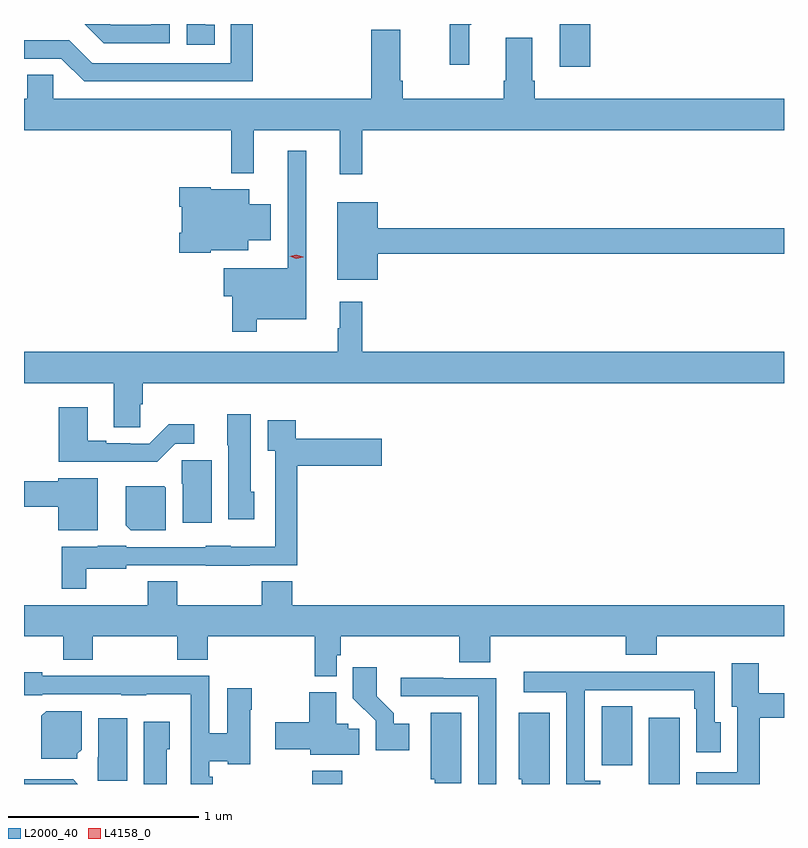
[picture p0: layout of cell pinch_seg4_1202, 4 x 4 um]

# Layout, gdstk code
import gdstk
lib = gdstk.Library(unit=1e-6, precision=1e-09)
def R(c, l, rs):  # rectangles x0, y0, x1, y1
    for r in rs: c.add(gdstk.rectangle(r[:2], r[2:], *l))
def P(c, l, *ps):  # polygons
    for p in ps: c.add(gdstk.Polygon(p, *l))
L2000_40 = (2000, 40)
L4158_0 = (4158, 0)

pinch_seg4_1202 = lib.new_cell('pinch_seg4_1202')
R(pinch_seg4_1202, L2000_40, [(318.323,808.03,318.483,808.099), (320.096,808.03,320.257,808.378), (319.847,808.128,320.008,808.439), (319.628,811.806,319.787,812.03), (318.302,812.028,318.473,812.03)])
P(pinch_seg4_1202, L2000_40, [(318.011,812.03),(317.895,812.03),(317.895,811.824),(317.166,811.824),(317.046,811.944),(316.807,811.944),(316.807,811.848),(317.004,811.848),(317.124,811.728),(318.011,811.728)],
  [(317.574,812.03),(317.478,812.03),(317.478,812.026),(317.264,812.026),(317.26,812.03),(317.127,812.03),(317.228,811.929),(317.574,811.929)],
  [(317.81,812.025),(317.761,812.025),(317.761,812.03),(317.664,812.03),(317.664,811.92),(317.81,811.92)],
  [(319.151,812.027),(319.162,812.027),(319.162,812.03),(319.048,812.03),(319.048,811.815),(319.151,811.815)],
  [(318.587,811.472),(320.807,811.472),(320.807,811.636),(319.496,811.636),(319.496,811.732),(319.483,811.732),(319.483,811.957),(319.343,811.957),(319.343,811.732),(319.331,811.732),(319.331,811.636),(318.8,811.636),(318.8,811.732),(318.787,811.732),(318.787,811.999),(318.635,811.999),(318.635,811.636),(316.962,811.636),(316.962,811.763),(316.823,811.763),(316.823,811.636),(316.807,811.636),(316.807,811.472),(317.899,811.472),(317.899,811.244),(318.017,811.244),(318.017,811.472),(318.47,811.472),(318.47,811.239),(318.587,811.239)],
  [(318.031,810.476),(318.292,810.476),(318.292,811.363),(318.195,811.363),(318.195,810.745),(317.858,810.745),(317.858,810.598),(317.902,810.598),(317.902,810.411),(318.031,810.411)],
  [(317.79,810.839),(317.986,810.839),(317.986,810.893),(318.106,810.893),(318.106,811.081),(317.992,811.081),(317.992,811.159),(317.79,811.159),(317.79,811.171),(317.624,811.171),(317.624,811.067),(317.636,811.067),(317.636,810.931),(317.624,810.931),(317.624,810.827),(317.79,810.827)],
  [(318.67,810.82),(320.807,810.82),(320.807,810.956),(318.67,810.956),(318.67,811.093),(318.455,811.093),(318.455,810.683),(318.67,810.683)],
  [(317.418,810.03),(317.432,810.03),(317.432,810.14),(320.807,810.14),(320.807,810.304),(318.587,810.304),(318.587,810.568),(318.47,810.568),(318.47,810.428),(318.459,810.428),(318.459,810.304),(316.807,810.304),(316.807,810.14),(317.279,810.14),(317.279,809.908),(317.418,809.908)],
  [(317.604,809.82),(317.704,809.82),(317.704,809.923),(317.569,809.923),(317.466,809.82),(317.366,809.82),(317.366,809.823),(317.239,809.823),(317.239,809.836),(317.143,809.836),(317.143,810.013),(316.991,810.013),(316.991,809.726),(317.509,809.726)],
  [(318.019,809.568),(318.001,809.568),(318.001,809.977),(317.876,809.977),(317.876,809.814),(317.882,809.814),(317.882,809.424),(318.019,809.424)],
  [(317.134,809.162),(317.346,809.162),(317.346,809.181),(317.763,809.181),(317.763,809.18),(317.995,809.18),(317.995,809.181),(318.245,809.181),(318.245,809.705),(318.691,809.705),(318.691,809.847),(318.238,809.847),(318.238,809.944),(318.089,809.944),(318.089,809.783),(318.129,809.783),(318.129,809.278),(317.895,809.278),(317.895,809.284),(317.763,809.284),(317.763,809.277),(317.346,809.277),(317.346,809.284),(317.196,809.284),(317.196,809.278),(317.005,809.278),(317.005,809.057),(317.134,809.057)],
  [(317.794,809.733),(317.638,809.733),(317.638,809.61),(317.642,809.61),(317.642,809.406),(317.794,809.406)],
  [(317.194,809.638),(316.988,809.638),(316.988,809.624),(316.807,809.624),(316.807,809.488),(316.988,809.488),(316.988,809.366),(317.194,809.366)],
  [(317.554,809.588),(317.546,809.596),(317.342,809.596),(317.342,809.392),(317.368,809.366),(317.554,809.366)],
  [(318.453,808.707),(318.473,808.707),(318.473,808.808),(319.097,808.808),(319.097,808.672),(319.262,808.672),(319.262,808.808),(319.973,808.808),(319.973,808.709),(320.138,808.709),(320.138,808.808),(320.807,808.808),(320.807,808.972),(318.218,808.972),(318.218,809.096),(318.058,809.096),(318.058,808.972),(317.613,808.972),(317.613,809.096),(317.458,809.096),(317.458,808.972),(316.807,808.972),(316.807,808.808),(317.014,808.808),(317.014,808.684),(317.169,808.684),(317.169,808.808),(317.614,808.808),(317.614,808.684),(317.774,808.684),(317.774,808.808),(318.337,808.808),(318.337,808.598),(318.453,808.598)],
  [(320.68,808.378),(320.807,808.378),(320.807,808.507),(320.675,808.507),(320.675,808.666),(320.531,808.666),(320.531,808.437),(320.561,808.437),(320.561,808.092),(320.346,808.092),(320.346,808.03),(320.68,808.03)],
  [(318.835,808.348),(318.754,808.348),(318.754,808.403),(318.664,808.493),(318.664,808.645),(318.538,808.645),(318.538,808.482),(318.657,808.363),(318.657,808.208),(318.835,808.208)],
  [(319.84,808.047),(319.758,808.047),(319.758,808.524),(320.104,808.524),(320.104,808.523),(320.334,808.523),(320.334,808.427),(320.346,808.427),(320.346,808.197),(320.473,808.197),(320.473,808.356),(320.442,808.356),(320.442,808.622),(320.221,808.622),(320.221,808.62),(319.855,808.62),(319.855,808.622),(319.437,808.622),(319.437,808.514),(319.662,808.514),(319.662,808.03),(319.84,808.03)],
  [(317.801,808.067),(317.781,808.067),(317.781,808.151),(317.88,808.151),(317.88,808.133),(317.998,808.133),(317.998,808.421),(318.006,808.421),(318.006,808.534),(317.876,808.534),(317.876,808.298),(317.781,808.298),(317.781,808.599),(317.551,808.599),(317.551,808.601),(317.319,808.601),(317.319,808.599),(316.902,808.599),(316.902,808.618),(316.807,808.618),(316.807,808.496),(316.902,808.496),(316.902,808.503),(317.319,808.503),(317.319,808.496),(317.451,808.496),(317.451,808.502),(317.685,808.502),(317.685,808.03),(317.801,808.03)],
  [(319.293,808.587),(319.013,808.587),(319.013,808.59),(318.789,808.59),(318.789,808.491),(319.197,808.491),(319.197,808.03),(319.293,808.03)],
  [(318.572,808.322),(318.513,808.322),(318.513,808.347),(318.451,808.347),(318.451,808.513),(318.307,808.513),(318.307,808.356),(318.129,808.356),(318.129,808.214),(318.314,808.214),(318.314,808.184),(318.572,808.184)],
  [(317.088,808.188),(317.11,808.21),(317.11,808.414),(316.924,808.414),(316.898,808.388),(316.898,808.163),(317.088,808.163)],
  [(319.573,808.405),(319.412,808.405),(319.412,808.056),(319.427,808.056),(319.427,808.03),(319.573,808.03)],
  [(319.108,808.405),(318.947,808.405),(318.947,808.056),(318.969,808.056),(318.969,808.035),(319.108,808.035)],
  [(317.35,808.375),(317.198,808.375),(317.198,808.17),(317.194,808.17),(317.194,808.047),(317.35,808.047)],
  [(317.557,808.212),(317.575,808.212),(317.575,808.357),(317.438,808.357),(317.438,808.03),(317.557,808.03)],
  [(317.066,808.054),(316.807,808.054),(316.807,808.03),(317.09,808.03)])
P(pinch_seg4_1202, L4158_0, [(318.24,810.795),(318.206,810.807),(318.205,810.807),(318.206,810.807),(318.241,810.815),(318.276,810.804),(318.276,810.803),(318.276,810.803)])

lib.write_gds('pinch_seg4_1202.gds')
